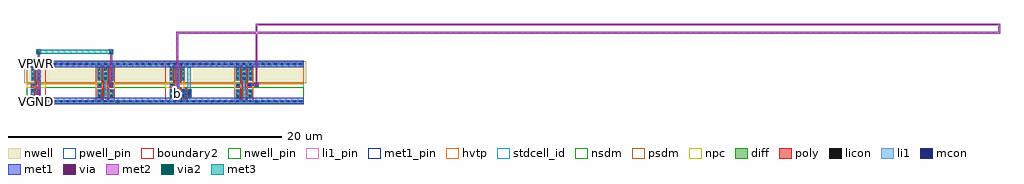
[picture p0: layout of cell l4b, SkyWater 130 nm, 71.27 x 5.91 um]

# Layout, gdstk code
import gdstk
lib = gdstk.Library(unit=1e-6, precision=1e-09)
def R(c, l, rs):  # rectangles x0, y0, x1, y1
    for r in rs: c.add(gdstk.rectangle(r[:2], r[2:], *l))
def A(c, l, x, y, w, h, nx, ny, dx, dy):  # array of equal rectangles
    R(c, l, [(x+i*dx, y+j*dy, x+i*dx+w, y+j*dy+h) for i in range(nx) for j in range(ny)])
nwell_pin = (64, 16)
nwell = (64, 20)
diff = (65, 20)
poly = (66, 20)
licon = (66, 44)
li1_pin = (67, 16)
li1 = (67, 20)
mcon = (67, 44)
met1_pin = (68, 16)
met1 = (68, 20)
via = (68, 44)
met2 = (69, 20)
via2 = (69, 44)
met3 = (70, 20)
hvtp = (78, 44)
stdcell_id = (81, 4)
nsdm = (93, 44)
psdm = (94, 20)
npc = (95, 20)
pwell_pin = (122, 16)
boundary2 = (236, 0)

l4b = lib.new_cell('l4b')
R(l4b, nwell_pin, [(6.54,2.61,6.825,2.765), (16.66,2.61,16.945,2.765), (0.145,2.635,0.315,2.805), (0.145,2.635,0.315,2.805), (5.2,2.635,5.37,2.805), (10.265,2.635,10.435,2.805), (10.265,2.635,10.435,2.805), (15.32,2.635,15.49,2.805), (1.555,2.65,1.68,2.78), (3.395,2.65,3.52,2.78), (11.675,2.65,11.8,2.78), (13.515,2.65,13.64,2.78)])
R(l4b, nwell, [(-0.19,1.305,1.57,2.91), (1.19,1.305,3.41,2.91), (3.03,1.305,5.25,2.91), (4.87,1.305,6.63,2.91), (6.25,1.305,10.31,2.91), (9.93,1.305,11.73,2.91), (11.31,1.305,13.53,2.91), (13.15,1.305,15.37,2.91), (14.99,1.305,16.75,2.91), (16.37,1.305,20.43,2.91)])
R(l4b, diff, [(0.34,0.235,1.01,0.885), (5.215,0.235,6.305,0.885), (10.46,0.235,12.04,0.885), (15.335,0.235,16.425,0.885), (0.34,1.485,1.01,2.485), (5.215,1.485,6.305,2.485), (10.46,1.485,11.55,2.485), (15.335,1.485,16.425,2.485)])
R(l4b, poly, [(10.72,-0.045,11.29,0.105), (11.14,-0.045,11.29,1.015), (11.14,-0.045,11.77,0.105), (11.62,-0.045,11.77,1.015), (0.6,0.105,0.75,2.615), (5.475,0.105,5.625,2.615), (5.895,0.105,6.045,2.615), (10.72,0.105,10.87,2.615), (15.595,0.105,15.745,2.615), (16.015,0.105,16.165,2.615), (0.32,0.995,0.6,1.325), (5.165,0.995,5.475,1.325), (6.045,0.995,6.335,1.325), (10.44,0.995,10.72,1.325), (15.285,0.995,15.595,1.325), (16.165,0.995,16.455,1.325), (11.14,1.355,11.29,2.765), (10.72,2.615,11.29,2.765)])
A(l4b, licon, 10.5, 0.315, 0.17, 0.17, 3, 2, 0.42, 0.34)
A(l4b, licon, 0.38, 1.575, 0.17, 0.17, 1, 3, 0, 0.34)
A(l4b, licon, 0.8, 1.575, 0.17, 0.17, 1, 3, 0, 0.34)
A(l4b, licon, 5.255, 1.575, 0.17, 0.17, 3, 3, 0.42, 0.34)
A(l4b, licon, 10.5, 1.575, 0.17, 0.17, 3, 3, 0.42, 0.34)
A(l4b, licon, 15.375, 1.575, 0.17, 0.17, 3, 3, 0.42, 0.34)
R(l4b, licon, [(5.255,0.295,5.425,0.465), (6.095,0.295,6.265,0.465), (15.375,0.295,15.545,0.465), (16.215,0.295,16.385,0.465), (0.38,0.315,0.55,0.485), (0.8,0.315,0.97,0.485), (11.82,0.315,11.99,0.485), (5.255,0.635,5.425,0.805), (6.095,0.635,6.265,0.805), (15.375,0.635,15.545,0.805), (16.215,0.635,16.385,0.805), (0.38,0.655,0.55,0.825), (0.8,0.655,0.97,0.825), (11.82,0.655,11.99,0.825), (0.4,1.075,0.57,1.245), (5.24,1.075,5.41,1.245), (6.08,1.075,6.25,1.245), (10.52,1.075,10.69,1.245), (15.36,1.075,15.53,1.245), (16.2,1.075,16.37,1.245)])
A(l4b, li1_pin, 5.2, 1.105, 0.17, 0.17, 3, 1, 0.46, 0)
A(l4b, li1_pin, 15.32, 1.105, 0.17, 0.17, 3, 1, 0.46, 0)
R(l4b, li1_pin, [(5.66,0.425,5.83,0.595), (15.78,0.425,15.95,0.595), (5.66,0.765,5.83,0.935), (15.78,0.765,15.95,0.935), (0.36,1.105,0.53,1.275), (0.82,1.105,0.99,1.275), (10.48,1.105,10.65,1.275), (10.94,1.105,11.11,1.275), (0.82,1.445,0.99,1.615), (10.94,1.445,11.11,1.615)])
R(l4b, li1, [(0,-0.085,1.38,0.085), (1.38,-0.085,3.22,0.085), (3.22,-0.085,5.06,0.085), (5.06,-0.085,5.145,0.085), (5.145,-0.085,5.455,0.885), (5.455,-0.085,6.44,0.085), (6.44,-0.085,10.12,0.085), (10.12,-0.085,11.5,0.085), (11.5,-0.085,13.34,0.085), (13.34,-0.085,15.18,0.085), (15.18,-0.085,15.265,0.085), (15.265,-0.085,15.575,0.885), (15.575,-0.085,16.56,0.085), (16.56,-0.085,20.24,0.085), (0.32,0.005,0.55,0.905), (10.44,0.005,10.67,0.905), (11.34,0.005,11.57,0.905), (0.72,0.255,0.82,0.885), (0.82,0.255,1.05,2.465), (5.66,0.255,5.83,2.465), (5.83,0.255,5.925,0.885), (5.925,0.255,6.355,0.885), (10.84,0.255,10.94,0.885), (10.94,0.255,11.17,2.465), (11.74,0.255,11.97,2.465), (11.97,0.255,12.07,0.885), (15.78,0.255,15.95,2.465), (15.95,0.255,16.045,0.885), (16.045,0.255,16.475,0.885), (0.8,0.485,0.97,0.655), (10.92,0.485,11.09,0.655), (5.155,1.055,5.49,1.325), (15.275,1.055,15.61,1.325), (0.32,1.075,0.65,1.315), (6,1.075,6.335,1.325), (10.44,1.075,10.77,1.315), (16.12,1.075,16.455,1.325), (6.082,1.115,6.252,1.285), (16.203,1.115,16.373,1.285), (0.72,1.485,0.82,2.465), (5.595,1.485,5.66,2.465), (5.83,1.485,5.925,2.465), (10.84,1.485,10.94,2.465), (15.715,1.485,15.78,2.465), (15.95,1.485,16.045,2.465), (0.34,1.495,0.55,2.675), (5.145,1.495,5.425,2.805), (6.095,1.495,6.355,2.805), (10.46,1.495,10.67,2.675), (11.34,1.495,11.55,2.675), (15.265,1.495,15.545,2.805), (16.215,1.495,16.475,2.805), (0,2.635,1.38,2.805), (1.38,2.635,3.22,2.805), (3.22,2.635,5.06,2.805), (5.06,2.635,5.145,2.805), (5.425,2.635,6.095,2.805), (6.355,2.635,6.44,2.805), (6.44,2.635,10.12,2.805), (10.12,2.635,11.5,2.805), (11.5,2.635,13.34,2.805), (13.34,2.635,15.18,2.805), (15.18,2.635,15.265,2.805), (15.545,2.635,16.215,2.805), (16.475,2.635,16.56,2.805), (16.56,2.635,20.24,2.805)])
A(l4b, mcon, 0.145, -0.085, 0.17, 0.17, 44, 2, 0.46, 2.72)
R(l4b, mcon, [(0.8,0.485,0.97,0.655), (10.92,0.485,11.09,0.655), (11.77,0.485,11.94,0.655), (6.082,1.115,6.252,1.285), (16.203,1.115,16.373,1.285)])
R(l4b, met1_pin, [(6.615,-0.1,6.775,0.05), (16.735,-0.1,16.895,0.05), (0.145,-0.085,0.315,0.085), (0.145,-0.085,0.315,0.085), (5.2,-0.085,5.37,0.085), (10.265,-0.085,10.435,0.085), (10.265,-0.085,10.435,0.085), (15.32,-0.085,15.49,0.085), (1.55,-0.05,1.665,0.045), (3.39,-0.05,3.505,0.045), (11.67,-0.05,11.785,0.045), (13.51,-0.05,13.625,0.045), (6.585,2.615,6.775,2.775), (16.705,2.615,16.895,2.775), (0.145,2.635,0.315,2.805), (0.145,2.635,0.315,2.805), (5.2,2.635,5.37,2.805), (10.265,2.635,10.435,2.805), (10.265,2.635,10.435,2.805), (15.32,2.635,15.49,2.805), (1.55,2.675,1.65,2.76), (3.39,2.675,3.49,2.76), (11.67,2.675,11.77,2.76), (13.51,2.675,13.61,2.76)])
A(l4b, met1, 0, -0.24, 1.38, 0.48, 4, 2, 5.06, 2.72)
R(l4b, met1, [(1.38,-0.24,3.22,0.24), (3.22,-0.24,5.06,0.24), (6.44,-0.24,10.12,0.24), (11.5,-0.24,13.34,0.24), (13.34,-0.24,15.18,0.24), (16.56,-0.24,20.24,0.24), (0.725,0.44,1.045,0.7), (10.845,0.44,11.165,0.7), (0.74,0.455,1.03,0.685), (10.86,0.455,11.15,0.685), (10.94,0.455,11.97,0.685), (0.815,0.5,0.955,0.64), (0.815,0.5,0.955,0.64), (0.815,0.5,0.955,0.64), (0.815,0.5,0.955,0.64), (10.935,0.5,11.075,0.64), (10.935,0.5,11.075,0.64), (10.935,0.5,11.075,0.64), (10.935,0.5,11.075,0.64), (6.007,1.07,6.327,1.33), (16.628,1.07,16.948,1.33), (6.022,1.085,6.312,1.315), (16.143,1.085,16.433,1.315), (6.097,1.13,6.237,1.27), (6.097,1.13,6.237,1.27), (6.097,1.13,6.237,1.27), (6.097,1.13,6.237,1.27), (16.218,1.13,16.358,1.27), (16.218,1.13,16.858,1.27), (1.38,2.48,3.22,2.96), (3.22,2.48,5.06,2.96), (6.44,2.48,10.12,2.96), (11.5,2.48,13.34,2.96), (13.34,2.48,15.18,2.96), (16.56,2.48,20.24,2.96)])
R(l4b, via, [(0.81,0.495,0.96,0.645), (10.93,0.495,11.08,0.645), (6.092,1.125,6.242,1.275), (16.713,1.125,16.863,1.275)])
R(l4b, met2, [(0.755,0.41,1.015,0.73), (10.875,0.41,11.135,0.73), (0.815,0.5,0.955,3.67), (10.935,0.5,11.075,5.07), (6.037,1.04,6.297,1.36), (16.658,1.04,16.918,1.36), (6.097,1.13,6.237,3.67), (16.718,1.13,16.858,1.27), (16.718,1.13,16.858,5.67), (0.745,3.415,1.025,3.785), (6.027,3.415,6.307,3.785), (0.815,3.53,0.955,3.67), (10.935,4.93,71.075,5.07), (70.935,4.93,71.075,5.67), (16.718,5.53,71.075,5.67)])
R(l4b, via2, [(0.785,3.5,0.985,3.7), (6.067,3.5,6.267,3.7)])
R(l4b, met3, [(0.72,3.435,1.05,3.765), (6.002,3.435,6.332,3.765), (0.735,3.45,6.317,3.75), (6.017,3.45,6.317,3.75)])
A(l4b, hvtp, 0, 1.25, 1.38, 1.47, 4, 1, 5.06, 0)
R(l4b, hvtp, [(1.38,1.25,3.22,2.72), (3.22,1.25,5.06,2.72), (6.44,1.25,10.12,2.72), (11.5,1.25,13.34,2.72), (13.34,1.25,15.18,2.72), (16.56,1.25,20.24,2.72)])
A(l4b, stdcell_id, 0, 0, 1.38, 2.72, 4, 1, 5.06, 0)
R(l4b, stdcell_id, [(1.38,0,3.22,2.72), (3.22,0,5.06,2.72), (6.44,0,10.12,2.72), (11.5,0,13.34,2.72), (13.34,0,15.18,2.72), (16.56,0,20.24,2.72)])
R(l4b, nsdm, [(0,-0.19,1.38,1.015), (1.38,-0.19,3.22,1.015), (3.22,-0.19,5.06,1.015), (5.06,-0.19,6.44,1.015), (6.44,-0.19,10.12,1.015), (10.12,-0.19,12.165,1.015), (11.5,-0.19,13.34,1.015), (13.34,-0.19,15.18,1.015), (15.18,-0.19,16.56,1.015), (16.56,-0.19,20.24,1.015)])
R(l4b, psdm, [(0,1.355,1.38,2.91), (1.38,1.355,3.22,2.91), (3.22,1.355,5.06,2.91), (5.06,1.355,6.44,2.91), (6.44,1.355,10.12,2.91), (10.12,1.355,11.675,2.91), (11.5,1.355,13.34,2.91), (13.34,1.355,15.18,2.91), (15.18,1.355,16.56,2.91), (16.56,1.355,20.24,2.91)])
A(l4b, npc, 0, 0.975, 1.38, 0.37, 4, 1, 5.06, 0)
R(l4b, pwell_pin, [(6.57,-0.12,6.79,0.05), (16.69,-0.12,16.91,0.05), (0.145,-0.085,0.315,0.085), (0.145,-0.085,0.315,0.085), (5.2,-0.085,5.37,0.085), (10.265,-0.085,10.435,0.085), (10.265,-0.085,10.435,0.085), (15.32,-0.085,15.49,0.085), (1.555,-0.06,1.665,0.06), (3.395,-0.06,3.505,0.06), (11.675,-0.06,11.785,0.06), (13.515,-0.06,13.625,0.06)])
A(l4b, boundary2, 0, 0, 1.38, 2.72, 4, 1, 5.06, 0)
l4b.add(gdstk.Label('VPWR', (0.69,2.72), layer=67, texttype=20))
l4b.add(gdstk.Label('VGND', (0.69,0), layer=67, texttype=20))
l4b.add(gdstk.Label('a', (0.885,0.57), layer=68, texttype=20))
l4b.add(gdstk.Label('b', (11.005,0.57), layer=68, texttype=20))

lib.write_gds('l4b.gds')
